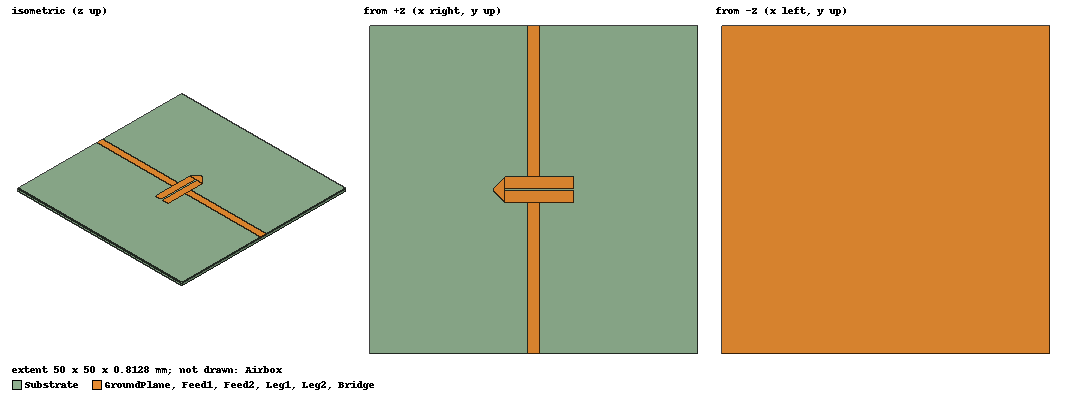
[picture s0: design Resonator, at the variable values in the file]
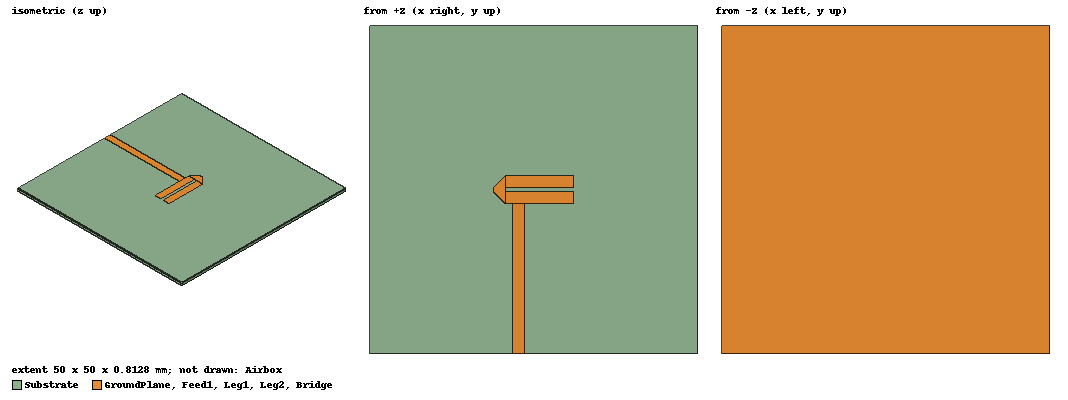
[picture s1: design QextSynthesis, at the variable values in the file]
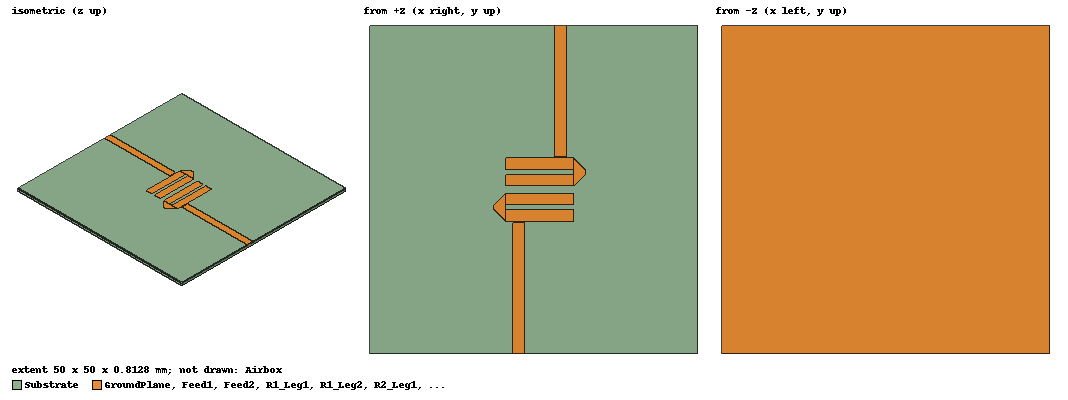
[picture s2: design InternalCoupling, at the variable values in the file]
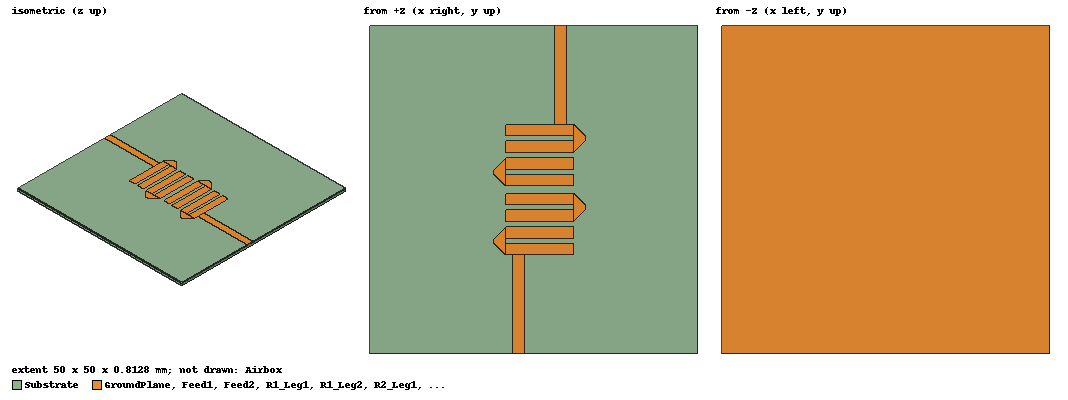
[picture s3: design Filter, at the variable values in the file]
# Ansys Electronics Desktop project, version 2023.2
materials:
  vacuum: permittivity=1
  Rogers RO4003 (tm): permittivity=3.55 dielectric_loss_tangent=0.0027
  copper: permeability=0.999991 conductivity=58000000
  pec: conductivity=1e+30
  LossLess-Rogers RO4003 (tm): permittivity=3.55

design Resonator (HFSS, HFSS Modal Network, model units mm)
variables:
  AirboxWidth = 50mm
  MicrostripWidth = 1.75mm
  Thickness = 32mil
  Len = 24.98641211mm
  LegR1 = (1-BridgeR2)/2
  BridgeR2 = 0.1582
  R1x = AirboxHeight/2- (MicrostripWidth + LegR1*Len)/2
  R1y = AirboxWidth/2 - BridgeR2*Len/2
  AirboxHeight = 50mm
  W50 = 1.789mm
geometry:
  Substrate [Rogers RO4003 (tm)] = box(corner=(0mm, 0mm, 0), size=(AirboxHeight, AirboxWidth, Thickness))
  Airbox [vacuum] = box(corner=(0mm, 0mm, -100mil), size=(AirboxHeight, AirboxWidth, 400mil))
  Leg1 = rectangle(corner=(MicrostripWidth+R1x, R1y, Thickness), x_size=Len*LegR1, y_size=MicrostripWidth)
  Leg2 = rectangle(corner=(MicrostripWidth+R1x, R1y+BridgeR2*Len-MicrostripWidth, Thickness), x_size=Len*(1-LegR1-BridgeR2), y_size=MicrostripWidth)
  Bridge = rectangle(corner=(R1x, R1y, Thickness), x_size=MicrostripWidth, y_size=Len*BridgeR2)
  Feed1 = rectangle(corner=(AirboxHeight/2 - MicrostripWidth/2, 0, Thickness), x_size=W50, y_size=R1y)
  Feed2 = rectangle(corner=(AirboxHeight/2 - MicrostripWidth/2, AirboxWidth-R1y, Thickness), x_size=W50, y_size=R1y)
  GroundPlane = rectangle(corner=(0, 0, 0), x_size=AirboxHeight, y_size=AirboxWidth)
  Polyline1 = polyline(z=Thickness, xy: (R1x, R1y) (R1x, R1y+MicrostripWidth) (R1x+MicrostripWidth, R1y) (R1x, R1y), closed, covered)
  Bridge.subtract(Polyline1)
  Polyline2 = polyline(z=Thickness, xy: (R1x, R1y + BridgeR2*Len - MicrostripWidth) (R1x, R1y + BridgeR2*Len) (R1x+MicrostripWidth, R1y+BridgeR2*Len) (R1x, R1y + BridgeR2*Len - MicrostripWidth), closed, covered)
  Bridge.subtract(Polyline2)
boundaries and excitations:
  Rad1: Radiation Objects=Airbox
  FiniteCond1: Finite Conductivity Objects=[Bridge, Feed1, Feed2, GroundPlane, Leg1, Leg2] Conductivity=58000000 Permeability=1 IsInternal
  1: Wave Port Faces=Airbox.face(-y) WavePortType=Modal NumModes=1 Modes{Mode1{CharImp=Zpi}}
  2: Wave Port Faces=Airbox.face(+y) WavePortType=Modal NumModes=1 Modes{Mode1{CharImp=Zpi}}
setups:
  Setup1: HfssDriven Frequency=3.6GHz MaxDeltaS=0.005 MaximumPasses=10 MinimumPasses=1 MinimumConvergedPasses=1 PercentRefinement=30 BasisOrder=1 PortAccuracy=2 DrivenSolverType="Direct Solver"
    sweep Sweep: 1.8GHz to 5.4GHz, 5500 points; Type=Interpolating InterpTolerance=0.5 InterpMaxSolns=250 InterpUsePortImped=false PassivityErrorTolerance=0.0001
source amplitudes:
  1:1: 1W 0deg
  2:1: 0W 0deg
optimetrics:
  ParametricSetup1: Parametric Sim._Setups=[Setup1]
    sweep BridgeR2: LIN 0.05 0.4 0.08
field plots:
  ComplexMag_E1, ComplexMag_E2, ComplexMag_E4, Mag_E1: E Field in Airbox on Setup1 : LastAdaptive at Freq=3.6GHz Phase=0deg
  ComplexMag_E3: E Field in Substrate, Airbox on Setup1 : LastAdaptive at Freq=3.6GHz Phase=0deg
  ComplexMag_E5: E Field in Substrate on Setup1 : LastAdaptive at Freq=3.6GHz Phase=0deg
  ComplexMag_E6: E Field on Setup1 : LastAdaptive at Freq=3.6GHz Phase=0deg
  Mesh1: MeshPlots over Feed2.face on Setup1 : LastAdaptive at Freq=3.6GHz Phase=0deg
  Mesh2: MeshPlots in Substrate on Setup1 : LastAdaptive at Freq=3.6GHz Phase=0deg
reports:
  S Parameter Plot 1: dB(S(2,1)) vs Freq on Setup1 : Sweep [MicrostripWidth=all Thickness=all Len=all BridgeR2=all]
  S Parameter Plot 2: dB(S(1,1)) vs Freq on Setup1 : Sweep; markers MX1 at x=3.5809498e+09
  S Parameter Plot 3: dB(S(2,1)) vs Freq on Setup1 : Sweep [BridgeR2=all]
  S Parameter Plot 4: dB(S(1,1)) vs Freq on Setup1 : Sweep [MicrostripWidth=1.65mm BridgeR2=0.05,0.1,0.13,0.15,0.1582,0.2,0.21,0.25,0.29,0.3,0.35,0.37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]

design QextSynthesis (HFSS, HFSS Modal Network, model units mm)
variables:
  AirboxWidth = 50mm
  MicrostripWidth = 1.789mm
  Thickness = 32mil
  Len = 24.98641211mm
  LegR1 = (1-BridgeR2)/2
  BridgeR2 = 0.172
  R1x = AirboxHeight/2- (MicrostripWidth + LegR1*Len)/2
  R1y = AirboxWidth/2 - BridgeR2*Len/2
  AirboxHeight = 50mm
  FeedPos = R1x+QextOffset
  QextOffset = 2.86mm
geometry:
  Substrate [Rogers RO4003 (tm)] = box(corner=(0mm, 0mm, 0), size=(AirboxHeight, AirboxWidth, Thickness))
  Airbox [vacuum] = box(corner=(0mm, 0mm, -100mil), size=(AirboxHeight, AirboxWidth, 400mil))
  Leg1 = rectangle(corner=(MicrostripWidth+R1x, R1y, Thickness), x_size=Len*LegR1, y_size=MicrostripWidth)
  Leg2 = rectangle(corner=(MicrostripWidth+R1x, R1y+BridgeR2*Len-MicrostripWidth, Thickness), x_size=Len*(1-LegR1-BridgeR2), y_size=MicrostripWidth)
  Bridge = rectangle(corner=(R1x, R1y, Thickness), x_size=MicrostripWidth, y_size=Len*BridgeR2)
  Feed1 = rectangle(corner=(FeedPos, 0, Thickness), x_size=MicrostripWidth, y_size=R1y)
  GroundPlane = rectangle(corner=(0, 0, 0), x_size=AirboxHeight, y_size=AirboxWidth)
  Polyline1 = polyline(z=Thickness, xy: (R1x, R1y) (R1x, R1y+MicrostripWidth) (R1x+MicrostripWidth, R1y) (R1x, R1y), closed, covered)
  Polyline2 = polyline(z=Thickness, xy: (R1x, R1y + BridgeR2*Len - MicrostripWidth) (R1x, R1y + BridgeR2*Len) (R1x+MicrostripWidth, R1y+BridgeR2*Len) (R1x, R1y + BridgeR2*Len - MicrostripWidth), closed, covered)
  Bridge.subtract(Polyline1, Polyline2)
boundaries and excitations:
  Rad1: Radiation Objects=Airbox
  FiniteCond1: Finite Conductivity Objects=[Bridge, Feed1, GroundPlane, Leg1, Leg2] UseMaterial Material=copper IsInternal
  1: Wave Port Faces=Airbox.face(-y) WavePortType=Modal NumModes=1 Modes{Mode1{CharImp=Zpi}}
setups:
  Setup1: HfssDriven Frequency=3.6GHz MaxDeltaS=0.002 MaximumPasses=12 MinimumPasses=8 MinimumConvergedPasses=1 PercentRefinement=30 BasisOrder=1 PortAccuracy=2 DrivenSolverType="Direct Solver"
    sweep Sweep: 1.2GHz to 5.4GHz, 800 points; Type=Interpolating SaveFields InterpTolerance=0.5 InterpMaxSolns=250 InterpUsePortImped=false PassivityErrorTolerance=0.0001
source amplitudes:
  1:1: 1W 0deg
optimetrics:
  ParametricSetup1: Parametric Sim._Setups=[Setup1]
    sweep QextOffset: LIN 1.8mm 3mm 0.3mm
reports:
  S Parameter Plot 1: dB(S(1,1)), ang_deg(S(1,1)) vs Freq on Setup1 : Sweep; markers MX1 at x=4.0175219e+09, MY1 at y=-1.57272, MY2 at y=1.56888

design InternalCoupling (HFSS, HFSS Modal Network, model units mm)
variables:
  a = 0.172
  Beta1 = (1-a)/2
  Beta2 = Beta1
  W = 1.789mm
  Len = 24.98641211mm
  Resonator1W = a*Len
  Resonator1H = W + max(Beta1*Len,Beta2*Len)
  Spacing1 = 1.0716mm
  ResonatorsW = 2*Resonator1W + Spacing1
  FeedOffset = 2.86mm
  F1Y = 0mm
  WeakGap = 0.21mm
  AirboxWidth = 50mm
  AirboxHeight = 50mm
  Thickness = 32mil
  Resonator1X = (AirboxHeight/2) - (Resonator1H/2)
  Resonator1Y = AirboxWidth/2 - (Resonator1W*2/2) - (Spacing1/2)
  Resonator2X = Resonator1X+W
  Resonator2Y = Resonator1Y + (a*Len) + Spacing1
  F1X = Resonator1X+FeedOffset
  F2X = Resonator2X+max(Beta1,Beta2)*Len - FeedOffset
  F2Y = FeedLen + ResonatorsW + 2*WeakGap
  FeedLen = Resonator1Y-WeakGap
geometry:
  Substrate [Rogers RO4003 (tm)] = box(corner=(0mm, 0mm, 0), size=(AirboxHeight, AirboxWidth, Thickness))
  Airbox [vacuum] = box(corner=(0mm, 0mm, -100mil), size=(AirboxHeight, AirboxWidth, 600mil))
  GroundPlane = rectangle(corner=(0, 0, 0), x_size=AirboxHeight, y_size=AirboxWidth)
  R1_Bridge = rectangle(corner=(Resonator1X, Resonator1Y, Thickness), x_size=W, y_size=a*Len)
  R1_Leg1 = rectangle(corner=(Resonator1X+W, Resonator1Y, Thickness), x_size=Beta1*Len, y_size=W)
  R1_Leg2 = rectangle(corner=(Resonator1X+W, Resonator1Y+(a*Len)-W, Thickness), x_size=Beta2*Len, y_size=W)
  R2_Bridge1 = rectangle(corner=(Resonator2X+max(Beta1,Beta2)*Len, Resonator2Y, Thickness), x_size=W, y_size=a*Len)
  R2_Leg1 = rectangle(corner=(Resonator2X, Resonator2Y, Thickness), x_size=Beta1*Len, y_size=W)
  R2_Leg2 = rectangle(corner=(Resonator2X, Resonator2Y+(a*Len)-W, Thickness), x_size=Beta2*Len, y_size=W)
  Feed1 = rectangle(corner=(F1X, F1Y, Thickness), x_size=W, y_size=FeedLen)
  Feed2 = rectangle(corner=(F2X, F2Y, Thickness), x_size=W, y_size=FeedLen)
  Polyline1 = polyline(z=Thickness, xy: (Resonator1X, Resonator1Y) (Resonator1X, Resonator1Y+W) (Resonator1X+W, Resonator1Y) (Resonator1X, Resonator1Y), closed, covered)
  R1_Bridge.subtract(Polyline1)
  Polyline2 = polyline(z=Thickness, xy: (Resonator1X, Resonator1Y + a*Len - W) (Resonator1X, Resonator1Y+ a*Len) (Resonator1X+W, Resonator1Y + a*Len) (Resonator1X, Resonator1Y + a*Len - W), closed, covered)
  R1_Bridge.subtract(Polyline2)
  Polyline3 = polyline(z=Thickness, xy: (Resonator2X+Beta1*Len, Resonator2Y) (Resonator2X+Beta1*Len+W, Resonator2Y) (Resonator2X+Beta1*Len+W, Resonator2Y+W) (Resonator2X+Beta1*Len, Resonator2Y), closed, covered)
  Polyline4 = polyline(z=Thickness, xy: (Resonator2X+Beta2*Len, Resonator2Y+a*Len) (Resonator2X+Beta2*Len+W, Resonator2Y+a*Len) (Resonator2X+Beta2*Len+W, Resonator2Y+a*Len-W) (Resonator2X+Beta2*Len, Resonator2Y+a*Len), closed, covered)
  R2_Bridge1.subtract(Polyline3, Polyline4)
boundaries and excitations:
  FiniteCond6: Finite Conductivity Objects=GroundPlane UseMaterial Material=copper IsInternal
  Rad1: Radiation Objects=Airbox
  FiniteCond7: Finite Conductivity Objects=[Feed1, Feed2, R1_Bridge, R1_Leg1, R1_Leg2, R2_Bridge1, R2_Leg1, R2_Leg2] Conductivity=58000000 Permeability=1 IsInternal
  1: Wave Port Faces=Airbox.face(-y) WavePortType=Modal NumModes=1 Modes{Mode1{CharImp=Zpi}}
  2: Wave Port Faces=Airbox.face(+y) WavePortType=Modal NumModes=1 Modes{Mode1{CharImp=Zpi}}
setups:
  Setup1: HfssDriven Frequency=3.6GHz MaxDeltaS=0.02 MaximumPasses=12 MinimumPasses=1 MinimumConvergedPasses=1 PercentRefinement=30 BasisOrder=1 PortAccuracy=2 DrivenSolverType="Direct Solver"
    sweep Sweep: 1.8GHz to 5.4GHz, 4000 points; Type=Interpolating InterpTolerance=0.5 InterpMaxSolns=250 InterpUsePortImped=false PassivityErrorTolerance=0.0001
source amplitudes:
  1:1: 1W 0deg
  2:1: 0W 0deg
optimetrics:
  ParametricSetup1: Parametric Sim._Setups=[Setup1]
    sweep Spacing1: LIN 0.8mm 1.25mm 0.0625mm
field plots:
  ComplexMag_E1: E Field in Airbox on Setup1 : LastAdaptive at Freq=3.6GHz Phase=0deg
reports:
  S Parameter Plot 1: dB(S(2,1)) vs Freq on Setup1 : Sweep [Spacing1=all]

design Filter (HFSS, HFSS Modal Network, model units mm)
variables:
  a = 0.172
  Beta1 = (1-a)/2
  Beta2 = Beta1
  W = 1.789mm
  Len = 24.98641211mm
  Resonator1W = a*Len
  Resonator1H = W + max(Beta1,Beta2)*Len
  W50 = 1.789mm
  Spacing1 = 0.82869mm
  ResonatorsW = Resonator1W + Resonator2W + Resonator3W + Resonator4W + Spacing1 + Spacing2 + Spacing3
  FeedOffset = 2.86mm
  Resonator2W = a*Len
  Resonator3W = a*Len
  Resonator4W = a*Len
  F1Y = 0mm
  Spacing2 = 1.0722mm
  Spacing3 = Spacing1
  WeakGap = 0mm
  AirboxWidth = 50mm
  AirboxHeight = 50mm
  Thickness = 32mil
  Resonator1X = (AirboxHeight/2) - (Resonator1H/2)
  Resonator1Y = AirboxWidth/2 - ResonatorsW/2
  Resonator2X = Resonator1X+W
  Resonator2Y = Resonator1Y + Resonator1W + Spacing1
  F1X = Resonator1X+FeedOffset
  F2X = Resonator2X+max(Beta1,Beta2)*Len - FeedOffset
  F2Y = FeedLen + ResonatorsW + 2*WeakGap
  FeedLen = Resonator1Y-WeakGap
  Resonator3X = Resonator1X
  Resonator4X = Resonator1X+W
  Resonator3Y = Resonator2Y + Resonator2W + Spacing2
  Resonator4Y = Resonator3Y + Resonator3W + Spacing3
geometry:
  Substrate [LossLess-Rogers RO4003 (tm)] = box(corner=(0mm, 0mm, 0), size=(AirboxHeight, AirboxWidth, Thickness))
  Airbox [vacuum] = box(corner=(0mm, 0mm, -100mil), size=(AirboxHeight, AirboxWidth, 600mil))
  GroundPlane = rectangle(corner=(0, 0, 0), x_size=AirboxHeight, y_size=AirboxWidth)
  R1_Bridge = rectangle(corner=(Resonator1X, Resonator1Y, Thickness), x_size=W, y_size=a*Len)
  R1_Leg1 = rectangle(corner=(Resonator1X+W, Resonator1Y, Thickness), x_size=Beta1*Len, y_size=W)
  R1_Leg2 = rectangle(corner=(Resonator1X+W, Resonator1Y+(a*Len)-W, Thickness), x_size=Beta2*Len, y_size=W)
  R2_Bridge = rectangle(corner=(Resonator2X+max(Beta1,Beta2)*Len, Resonator2Y, Thickness), x_size=W, y_size=a*Len)
  R2_Leg1 = rectangle(corner=(Resonator2X, Resonator2Y, Thickness), x_size=Beta1*Len, y_size=W)
  R2_Leg2 = rectangle(corner=(Resonator2X, Resonator2Y+(a*Len)-W, Thickness), x_size=Beta2*Len, y_size=W)
  Feed1 = rectangle(corner=(F1X, F1Y, Thickness), x_size=W50, y_size=FeedLen)
  Feed2 = rectangle(corner=(F2X, F2Y, Thickness), x_size=W50, y_size=FeedLen)
  R3_Bridge = rectangle(corner=(Resonator3X, Resonator3Y, Thickness), x_size=W, y_size=a*Len)
  R3_Leg1 = rectangle(corner=(Resonator3X+W, Resonator3Y, Thickness), x_size=Beta1*Len, y_size=W)
  R3_Leg2 = rectangle(corner=(Resonator3X+W, Resonator3Y+(a*Len)-W, Thickness), x_size=Beta1*Len, y_size=W)
  R4_Bridge = rectangle(corner=(Resonator4X+max(Beta1,Beta2)*Len, Resonator4Y, Thickness), x_size=W, y_size=a*Len)
  R4_Leg1 = rectangle(corner=(Resonator4X, Resonator4Y, Thickness), x_size=Beta1*Len, y_size=W)
  R4_Leg2 = rectangle(corner=(Resonator4X, Resonator4Y+(a*Len)-W, Thickness), x_size=Beta1*Len, y_size=W)
  Polyline1 = polyline(z=Thickness, xy: (Resonator1X, Resonator1Y) (Resonator1X, Resonator1Y + W) (Resonator1X+W, Resonator1Y) (Resonator1X, Resonator1Y), closed, covered)
  R1_Bridge.subtract(Polyline1)
  Polyline2 = polyline(z=Thickness, xy: (Resonator3X, Resonator3Y) (Resonator3X, Resonator3Y+W) (Resonator3X+W, Resonator3Y) (Resonator3X, Resonator3Y), closed, covered)
  R3_Bridge.subtract(Polyline2)
  Polyline3 = polyline(z=Thickness, xy: (Resonator1X, Resonator1Y + a*Len - W) (Resonator1X, Resonator1Y + a*Len) (Resonator1X+W, Resonator1Y + a*Len) (Resonator1X, Resonator1Y + a*Len - W), closed, covered)
  R1_Bridge.subtract(Polyline3)
  Polyline4 = polyline(z=Thickness, xy: (Resonator3X, Resonator3Y + a*Len - W) (Resonator3X, Resonator3Y + a*Len) (Resonator3X+W, Resonator3Y+a*Len) (Resonator3X, Resonator3Y + a*Len - W), closed, covered)
  R3_Bridge.subtract(Polyline4)
  Polyline5 = polyline(z=Thickness, xy: (Resonator2X+Beta1*Len, Resonator2Y) (Resonator2X+Beta1*Len+W, Resonator2Y) (Resonator2X+Beta1*Len+W, Resonator2Y+W) (Resonator2X+Beta1*Len, Resonator2Y), closed, covered)
  R2_Bridge.subtract(Polyline5)
  Polyline6 = polyline(z=Thickness, xy: (Resonator4X+Beta1*Len, Resonator4Y) (Resonator4X+Beta1*Len+W, Resonator4Y) (Resonator4X+Beta1*Len+W, Resonator4Y+W) (Resonator4X+Beta1*Len, Resonator4Y), closed, covered)
  R4_Bridge.subtract(Polyline6)
  Polyline7 = polyline(z=Thickness, xy: (Resonator2X+Beta2*Len, Resonator2Y+a*Len) (Resonator2X+Beta2*Len+W, Resonator2Y+a*Len) (Resonator2X+Beta2*Len+W, Resonator2Y+a*Len-W) (Resonator2X+Beta2*Len, Resonator2Y+a*Len), closed, covered)
  R2_Bridge.subtract(Polyline7)
  Polyline8 = polyline(z=Thickness, xy: (Resonator4X+Beta2*Len, Resonator4Y+a*Len) (Resonator4X+Beta2*Len+W, Resonator4Y+a*Len) (Resonator4X+Beta2*Len+W, Resonator4Y+a*Len-W) (Resonator4X+Beta2*Len, Resonator4Y+a*Len), closed, covered)
  R4_Bridge.subtract(Polyline8)
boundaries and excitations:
  FiniteCond6: Finite Conductivity Objects=GroundPlane UseMaterial Material=copper IsInternal
  Rad1: Radiation Objects=Airbox
  FiniteCond7: Finite Conductivity Objects=[Feed1, Feed2, R1_Bridge, R1_Leg1, R1_Leg2, R2_Bridge, R2_Leg1, R2_Leg2] Conductivity=58000000 Permeability=1 IsInternal
  FiniteCond8: Finite Conductivity Objects=[R3_Bridge, R3_Leg1, R3_Leg2, R4_Bridge, R4_Leg1, R4_Leg2] Conductivity=58000000 Permeability=1 IsInternal
  1: Wave Port Faces=Airbox.face(-y) WavePortType=Modal NumModes=1 Modes{Mode1{CharImp=Zpi}}
  2: Wave Port Faces=Airbox.face(+y) WavePortType=Modal NumModes=1 Modes{Mode1{CharImp=Zpi}}
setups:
  Setup1: HfssDriven Frequency=3.6GHz MaxDeltaS=0.02 MaximumPasses=12 MinimumPasses=1 MinimumConvergedPasses=1 PercentRefinement=30 BasisOrder=1 PortAccuracy=2 DrivenSolverType="Direct Solver"
    sweep Sweep: 1.8GHz to 5.8GHz, 4000 points; Type=Interpolating InterpTolerance=0.5 InterpMaxSolns=250 InterpUsePortImped=false PassivityErrorTolerance=0.0001
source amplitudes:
  1:1: 1W 0deg
  2:1: 0W 0deg
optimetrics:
  ParametricSetup1: Parametric Sim._Setups=[Setup1]
    sweep W: LIN 0.6mm 2mm 0.2mm
    sweep a: LIN 0.09 0.27 0.4
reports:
  S Parameter Plot 1: dB(S(1,1)), dB(S(2,1)) vs Freq on Setup1 : Sweep [a=all W=all]
